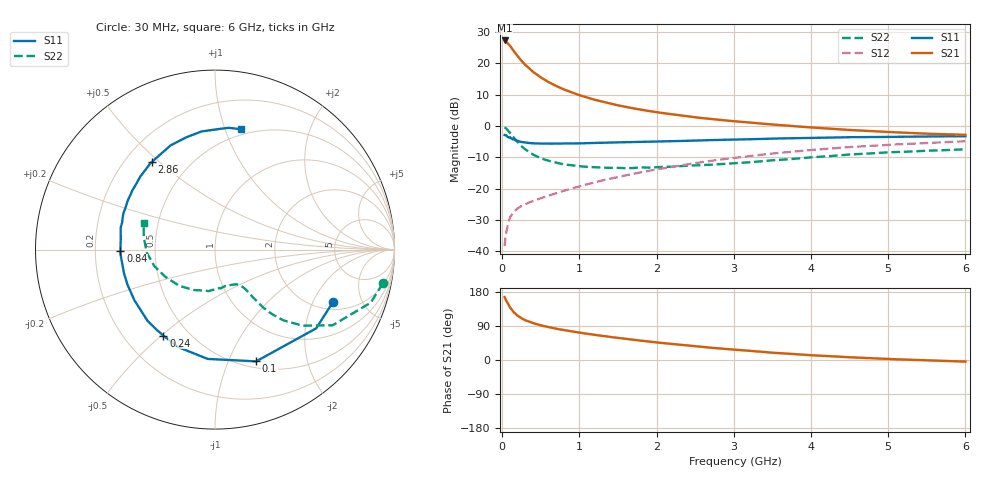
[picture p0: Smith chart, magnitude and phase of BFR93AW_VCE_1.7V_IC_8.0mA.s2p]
! Infineon Technologies  Discrete & RF Semiconductors
! BFR93AW
! VCE =  1.7 V,  IC =  8.0 mA
! Common Emitter S-Parameters:  Nov 2015
# GHz  S  MA  R  50
!  f  S11  S21  S12  S22
! GHz  MAG  ANG  MAG  ANG  MAG  ANG  MAG  ANG
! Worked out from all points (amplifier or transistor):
!   206 points, 30 MHz to 6 GHz, reference 50 ohm
!   highest |S21| = 27.4 dB at 30 MHz (marker M1)
!   |S21| within 3 dB of that: start of sweep to 136.4 MHz
!   unconditionally stable (mu >= 1): 777.3 MHz to 2.496 GHz
!   at 200 MHz: K = 0.43, MSG = 24.3 dB, |S12| = -26.3 dB
!   at 1.56 GHz: K = 1.08, MAG = 9.4 dB, |S12| = -16.0 dB
!   at 6 GHz: K = 0.95, MSG = 1.0 dB, |S12| = -4.9 dB
!   S11 on the Smith chart (normalised r, x): 30 MHz: 2.39, -2.88; 100 MHz: 0.57, -1.27; 240 MHz: 0.36, -0.51; 840 MHz: 0.31, -0.01; 2.86 GHz: 0.31, +0.47; 6 GHz: 0.45, +1.13
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0.03  0.7193 -23.9  23.31 166.0  0.012 79.3  0.9536 -11.4
0.05  0.7143 -37.9  22.53 156.7  0.0197 73.8  0.9169 -18.8
0.1  0.6635 -69.8  19.15 138.5  0.0346 60.3  0.7789 -32.8
0.15  0.6106 -93.8  15.64 125.5  0.0425 53.0  0.6462 -41.0
0.2  0.5809 -110.4  12.99 116.6  0.0483 49.8  0.5477 -46.0
0.24  0.5589 -120.9  11.34 111.4  0.0519 48.7  0.4871 -48.2
0.26  0.5531 -125.5  10.63 108.9  0.0535 48.3  0.4618 -49.1
0.3  0.5466 -133.5  9.425 104.7  0.0563 47.8  0.4209 -50.2
0.4  0.5304 -147.9  7.304 97.0  0.0636 49.3  0.3482 -51.4
0.5  0.5254 -158.3  5.97 91.2  0.0701 50.9  0.3038 -52.0
0.6  0.524 -165.3  5.024 86.5  0.0769 53.1  0.2773 -52.4
0.7  0.5232 -171.9  4.36 82.4  0.0844 55.1  0.2595 -53.4
0.84  0.5266 -179.0  3.672 77.5  0.0955 57.2  0.2402 -55.6
1.04  0.5294 172.6  3.002 71.0  0.112 59.4  0.2254 -59.1
1.2  0.5394 166.9  2.621 66.3  0.1259 60.5  0.2193 -62.9
1.48  0.548 158.7  2.166 58.8  0.151 61.5  0.2146 -70.8
2.02  0.5666 144.2  1.647 45.9  0.2046 60.8  0.2211 -87.9
2.86  0.6019 125.7  1.238 29.7  0.2941 55.5  0.247 -113.7
3.1  0.6098 120.7  1.163 25.8  0.319 53.4  0.258 -121.3
4.1  0.6483 102.7  0.931 11.6  0.4224 42.8  0.3213 -154.3
5.1  0.6718 88.4  0.793 1.9  0.5073 31.1  0.3832 -180.0
6  0.686 77.9  0.723 -4.2  0.5701 21.1  0.4246 159.4
